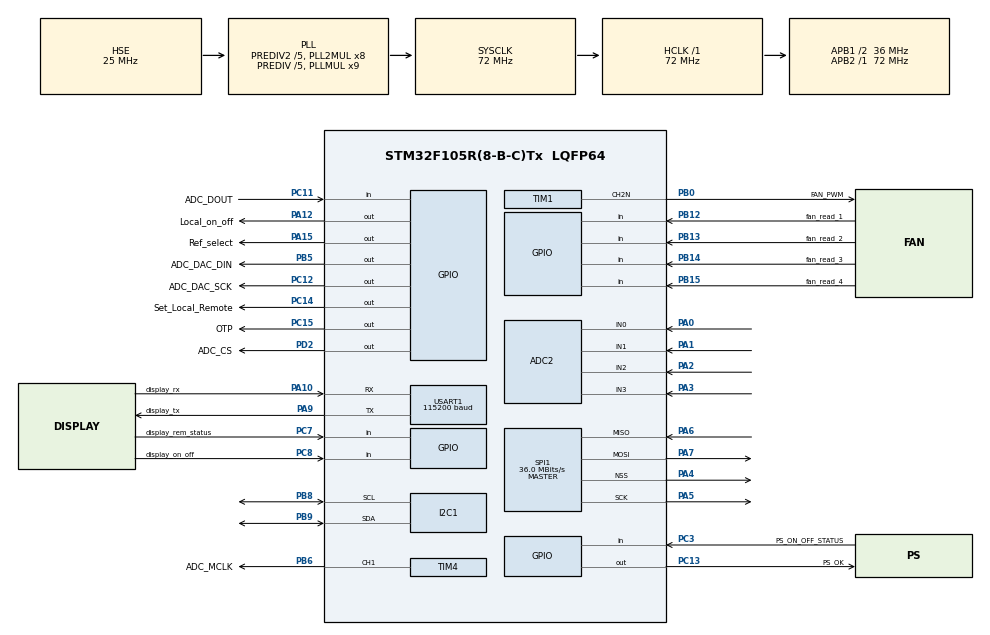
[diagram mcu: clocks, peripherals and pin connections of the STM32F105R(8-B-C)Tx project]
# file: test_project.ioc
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ADC2.Channel-0\#ChannelRegularConversion=ADC_CHANNEL_1
ADC2.NbrOfConversionFlag=1
ADC2.Rank-0\#ChannelRegularConversion=1
ADC2.SamplingTime-0\#ChannelRegularConversion=ADC_SAMPLETIME_1CYCLE_5
Mcu.Family=STM32F1
Mcu.Name=STM32F105R(8-B-C)Tx
Mcu.Package=LQFP64
NVIC.ADC1_2_IRQn=true\:0\:0\:false\:false\:true\:true\:true\:true
NVIC.I2C1_ER_IRQn=true\:0\:0\:false\:false\:true\:true\:true\:true
NVIC.I2C1_EV_IRQn=true\:0\:0\:false\:false\:true\:true\:true\:true
NVIC.PriorityGroup=NVIC_PRIORITYGROUP_4
NVIC.RCC_IRQn=true\:0\:0\:false\:false\:true\:true\:false\:true
NVIC.TIM1_BRK_IRQn=true\:0\:0\:false\:false\:true\:true\:true\:true
NVIC.TIM1_CC_IRQn=true\:0\:0\:false\:false\:true\:true\:true\:true
NVIC.TIM1_TRG_COM_IRQn=true\:0\:0\:false\:false\:true\:true\:true\:true
NVIC.TIM1_UP_IRQn=true\:0\:0\:false\:false\:true\:true\:true\:true
NVIC.TIM3_IRQn=true\:0\:0\:false\:false\:true\:true\:true\:true
NVIC.TIM4_IRQn=true\:0\:0\:false\:false\:true\:true\:true\:true
NVIC.USART1_IRQn=true\:0\:0\:false\:false\:true\:true\:true\:true
PA0-WKUP.Signal=ADCx_IN0
PA1.Signal=ADCx_IN1
PA10.GPIO_Label=display_rx
PA10.Mode=Asynchronous
PA10.Signal=USART1_RX
PA12.GPIO_Label=Local_on_off
PA12.Signal=GPIO_Output
PA13.Mode=Serial_Wire
PA13.Signal=SYS_JTMS-SWDIO
PA14.Mode=Serial_Wire
PA14.Signal=SYS_JTCK-SWCLK
PA15.GPIO_Label=Ref_select
PA15.Signal=GPIO_Output
PA2.Signal=ADCx_IN2
PA3.Signal=ADCx_IN3
PA4.Mode=NSS_Signal_Hard_Output
PA4.Signal=SPI1_NSS
PA5.Mode=Full_Duplex_Master
PA5.Signal=SPI1_SCK
PA6.Mode=Full_Duplex_Master
PA6.Signal=SPI1_MISO
PA7.Mode=Full_Duplex_Master
PA7.Signal=SPI1_MOSI
PA9.GPIO_Label=display_tx
PA9.Mode=Asynchronous
PA9.Signal=USART1_TX
PB0.GPIO_Label=FAN_PWM
PB0.Mode=PWM Generation2 CH2N
PB0.Signal=TIM1_CH2N
PB12.GPIO_Label=fan_read_1
PB12.Signal=GPIO_Input
PB13.GPIO_Label=fan_read_2
PB13.Signal=GPIO_Input
PB14.GPIO_Label=fan_read_3
PB14.Signal=GPIO_Input
PB15.GPIO_Label=fan_read_4
PB15.Signal=GPIO_Input
PB5.GPIO_Label=ADC_DAC_DIN
PB5.Signal=GPIO_Output
PB6.GPIO_Label=ADC_MCLK
PB6.Signal=S_TIM4_CH1
PB8.Mode=I2C
PB8.Signal=I2C1_SCL
PB9.Mode=I2C
PB9.Signal=I2C1_SDA
PC11.GPIO_Label=ADC_DOUT
PC11.Signal=GPIO_Input
PC12.GPIO_Label=ADC_DAC_SCK
PC12.Signal=GPIO_Output
PC13-TAMPER-RTC.GPIO_Label=PS_OK
PC13-TAMPER-RTC.Signal=GPIO_Output
PC14-OSC32_IN.GPIO_Label=Set_Local_Remote
PC14-OSC32_IN.Signal=GPIO_Output
PC15-OSC32_OUT.GPIO_Label=OTP
PC15-OSC32_OUT.Signal=GPIO_Output
PC3.GPIO_Label=PS_ON_OFF_STATUS
PC3.Signal=GPIO_Input
PC7.GPIO_Label=display_rem_status
PC7.Signal=GPIO_Input
PC8.GPIO_Label=display_on_off
PC8.Signal=GPIO_Input
PD0-OSC_IN.Mode=HSE-External-Oscillator
PD0-OSC_IN.Signal=RCC_OSC_IN
PD1-OSC_OUT.Mode=HSE-External-Oscillator
PD1-OSC_OUT.Signal=RCC_OSC_OUT
PD2.GPIO_Label=ADC_CS
PD2.PinState=GPIO_PIN_SET
PD2.Signal=GPIO_Output
ProjectManager.HeapSize=0x200
ProjectManager.StackSize=0x400
ProjectManager.TargetToolchain=STM32CubeIDE
RCC.ADCPresc=RCC_ADCPCLK2_DIV6
RCC.AHBFreq_Value=72000000
RCC.APB1CLKDivider=RCC_HCLK_DIV2
RCC.APB1Freq_Value=36000000
RCC.APB1TimFreq_Value=72000000
RCC.APB2Freq_Value=72000000
RCC.APB2TimFreq_Value=72000000
RCC.HCLKFreq_Value=72000000
RCC.HSEDivPLL=RCC_HSE_PREDIV_DIV5
RCC.HSE_VALUE=25000000
RCC.PLLMUL=RCC_PLL_MUL9
RCC.PLLSourceVirtual=RCC_PLLSOURCE_HSE
RCC.Prediv1Source=RCC_PREDIV1_SOURCE_PLL2
RCC.Prediv2=RCC_HSE_PREDIV2_DIV5
RCC.SYSCLKFreq_VALUE=72000000
RCC.SYSCLKSource=RCC_SYSCLKSOURCE_PLLCLK
RCC.USBFreq_Value=48000000
SH.ADCx_IN0.0=ADC2_IN0,IN0
SH.ADCx_IN1.0=ADC2_IN1,IN1
SH.ADCx_IN2.0=ADC2_IN2,IN2
SH.ADCx_IN3.0=ADC2_IN3,IN3
SH.S_TIM4_CH1.0=TIM4_CH1,PWM Generation1 CH1
SPI1.BaudRatePrescaler=SPI_BAUDRATEPRESCALER_2
SPI1.CalculateBaudRate=36.0 MBits/s
SPI1.Direction=SPI_DIRECTION_2LINES
SPI1.Mode=SPI_MODE_MASTER
SPI1.VirtualNSS=VM_NSSHARD
SPI1.VirtualType=VM_MASTER
TIM1.Channel-PWM\ Generation2\ CH2N=TIM_CHANNEL_2
TIM4.Channel-PWM\ Generation1\ CH1=TIM_CHANNEL_1
TIM4.Channel-PWM\ Generation4\ No\ Output=TIM_CHANNEL_4
TIM4.Period=5
TIM4.Prescaler=1
TIM4.Pulse-PWM\ Generation1\ CH1=1
TIM4.Pulse-PWM\ Generation4\ No\ Output=1
USART1.BaudRate=115200
USART1.VirtualMode=VM_ASYNC
VP_TIM3_VS_ClockSourceINT.Mode=Internal
VP_TIM4_VS_no_output4.Mode=PWM Generation4 No Output
board=custom

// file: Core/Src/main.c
/* USER CODE BEGIN Header */
/**
  ******************************************************************************
  * @file           : main.c
  * @brief          : Main program body
  ******************************************************************************
  * @attention
  *
  * Copyright (c) 2026 STMicroelectronics.
  * All rights reserved.
  *
  * This software is licensed under terms that can be found in the LICENSE file
  * in the root directory of this software component.
  * If no LICENSE file comes with this software, it is provided AS-IS.
  *
  ******************************************************************************
  */
/* USER CODE END Header */
#include "main.h"
#include "adc.h"
#include "i2c.h"
#include "spi.h"
#include "tim.h"
#include "usart.h"
#include "gpio.h"

/* USER CODE BEGIN PTD */
uint32_t MeasDataSendCount = 0;
/* USER CODE END PTD */

/* USER CODE BEGIN PD */

int Set_Local_Remote = 1;
int Ref_Sel = 1;

/* USER CODE END PD */

void SystemClock_Config(void);

int main(void)
{

  /* MCU Configuration--------------------------------------------------------*/

  /* Reset of all peripherals, Initializes the Flash interface and the Systick. */
  HAL_Init();

  /* Configure the system clock */
  SystemClock_Config();

  /* Initialize all configured peripherals */
  MX_GPIO_Init();
  MX_USART1_UART_Init();
  MX_SPI1_Init();
  MX_TIM3_Init();
  MX_ADC2_Init();
  MX_I2C1_Init();
  MX_TIM1_Init();
  MX_TIM4_Init();
  /* USER CODE BEGIN 2 */

  HAL_GPIO_WritePin(GPIOC, Set_Local_Remote_Pin, GPIO_PIN_SET);
  HAL_GPIO_WritePin(GPIOA, Local_on_off_Pin|Ref_select_Pin, GPIO_PIN_SET);

  HAL_TIM_PWM_Start(&htim4, TIM_CHANNEL_1);

  HAL_Delay(300);
  ADC_Init();

  /* USER CODE END 2 */

  /* Infinite loop */
  /* USER CODE BEGIN WHILE */
  while (1)
  {

	  if(1 == Set_Local_Remote)
	  {
		  HAL_GPIO_WritePin(GPIOC, Set_Local_Remote_Pin, GPIO_PIN_SET);
	  }
	  else
	  {
		  HAL_GPIO_WritePin(GPIOC, Set_Local_Remote_Pin, GPIO_PIN_RESET);
	  }

	  if(1 == Ref_Sel)
	  {
		  HAL_GPIO_WritePin(GPIOA, Ref_select_Pin, GPIO_PIN_SET);
	  }
	  else
	  {
		  HAL_GPIO_WritePin(GPIOA, Ref_select_Pin, GPIO_PIN_RESET);
	  }
	  scan_adc();

	  MeasDataSendCount++;
	  if(MeasDataSendCount == 3000)
	  {
		  display_update();
		  MeasDataSendCount = 0;
	  }
	  count1++;
	  count3++;
	    if(state<99)
	    {
	 	  if((usart1RxBuff[0]==0x5b) && (usart1RxBuff[1]==0x05) && (usart1RxBuff[2]==0xef) && mode == LOCAL)
	 	  {
	 		  usart1RxBuff[0]=0;
	 		  usart1RxBuff[1]=0;
	 		  usart1RxBuff[2]=0;

	 		  if(Output_Status==0)
	 		  {
	 			  Output_Status = 1;
	 		  }
	 		  else if(Output_Status==1)
	 		  {
	 			  Output_Status = 0;
	 		  }
	 	  }
	    }

	    //RM Key pressed
	    if((state < 99) && (usart1RxBuff[0] == 0x5B) && (usart1RxBuff[1] == 0x09) &&(usart1RxBuff[2] == 0xef))
	    {
	 	    usart1RxBuff[0] = 0U;
	 	    usart1RxBuff[1] = 0U;
	 	    usart1RxBuff[2] = 0U;

	 	    state = 101;

	    }

	 	  /* Bit 0 = ACF */
	 	  if (ACF_Status == 1U)
	 	  {
	 	      SystemStatus |= (1U << 0);
	 	  }
	 	  else
	 	  {
	 	      SystemStatus &= ~(1U << 0);
	 	  }

	 	  /* Bit 1 = OTP */
	 	  if (OTP_Status == 1U)
	 	  {
	 	      SystemStatus |= (1U << 1);
	 	  }
	 	  else
	 	  {
	 	      SystemStatus &= ~(1U << 1);
	 	  }

	 	  /* Bit 2 = FAN FAIL */
	 	  if (FanFail_Status == 1U)
	 	  {
	 	      SystemStatus |= (1U << 2);
	 	  }
	 	  else
	 	  {
	 	      SystemStatus &= ~(1U << 2);
	 	  }

	 	  /* Bit 3 = OVERLOAD */
	 	  if (Overload_Status == 1U)
	 	  {
	 	      SystemStatus |= (1U << 3);
	 	  }
	 	  else
	 	  {
	 	      SystemStatus &= ~(1U << 3);
	 	  }

	       if(SystemStatus>0)
	       {
	     	  state = 99;
	       }

	       if(count3 == 3000)
	       {
	     	  state = 101;
	       }
	 	  switch(state)
	 	  {

	 	  case(0):
	 				if(count1>2000)
	 			    {
	 					display_update();
	 					count1 = 0;
	 			    }
	 	  	  	  	  if(usart1RxBuff[0]==0x5b && usart1RxBuff[1]==0x01 && usart1RxBuff[2]==0xef)
	 				  {
	 					  state = 1;
	 					  usart1RxBuff[0]=0;
	 					  usart1RxBuff[1]=0;
	 					  usart1RxBuff[2]=0;
	 					  display_ISET();

	 				  }

	 	   break;

	 	  case(1):      // Set Button Pressed
	 	  				if(count2>50000000)
	 	  			    {
	 	  					//display_update();
	 	  					count2 = 0;
	 	  					state = 0;
	 	  			    }
	 	  	  	  	    count2++;

	 	  	  	  	 if(usart1RxBuff[0]==0x5b && usart1RxBuff[1]==0x01 && usart1RxBuff[2]==0xef)
	 				  {
	 					  //state = 1;
	 					  usart1RxBuff[0]=0;
	 					  usart1RxBuff[1]=0;
	 					  usart1RxBuff[2]=0;
	 					  display_ISET();
	 					  state = 0;

	 				  }

	 	  break;

	 	  case(99) : if(count1>2000)
	 					{
	 		  	  	  	  Fault_Display();
	 						count1 = 0;
	 					}

	 	  if(usart1RxBuff[0]==0x5b && usart1RxBuff[1]==0x05 && usart1RxBuff[2]==0xef)
	 	 	  {
	 	 		  usart1RxBuff[0]=0;
	 	 		  usart1RxBuff[1]=0;
	 	 		  usart1RxBuff[2]=0;

	 	 		  state=0;
	 	 	  }

	 		break;

	 	  case(101): // Handler for Remote button press
	 	  {

	 		    if ((usart1RxBuff[0] == 0x5B) && (usart1RxBuff[1] == 0x09) && (usart1RxBuff[2] == 0xEF))
	 		    {
	 		        usart1RxBuff[0] = 0U;
	 		        usart1RxBuff[1] = 0U;
	 		        usart1RxBuff[2] = 0U;

	 		        if (mode == REMOTE)
	 		        {
	 		            mode = LOCAL;

	 		            LedStatus = 0x02;
	 		        }
	 		        else
	 		        {
	 		            mode = REMOTE;

	 		            LedStatus = 0x00;
	 		        }

	 		        state = 0;
	 		    }
	 		    else if ((usart1RxBuff[0] == 0x5B) && (usart1RxBuff[1] == 0x05) && (usart1RxBuff[2] == 0xEF))
	 		    {
	 		        usart1RxBuff[0] = 0U;
	 		        usart1RxBuff[1] = 0U;
	 		        usart1RxBuff[2] = 0U;

	 		        if (mode == LOCAL)
	 		        {
	 		            if (Output_Status == 0U)
	 		            {
	 		                Output_Status = 1U;
	 		            }
	 		            else
	 		            {
	 		                Output_Status = 0U;
	 		            }
	 		        }
	 		        state = 0;
	 		    }

	 		    break;
	 	  }

	 	  }
    /* USER CODE END WHILE */

  }
}

void SystemClock_Config(void)
{
  RCC_OscInitTypeDef RCC_OscInitStruct = {0};
  RCC_ClkInitTypeDef RCC_ClkInitStruct = {0};
  RCC_PeriphCLKInitTypeDef PeriphClkInit = {0};

  /** Initializes the RCC Oscillators according to the specified parameters
  * in the RCC_OscInitTypeDef structure.
  */
  RCC_OscInitStruct.OscillatorType = RCC_OSCILLATORTYPE_HSE;
  RCC_OscInitStruct.HSEState = RCC_HSE_ON;
  RCC_OscInitStruct.HSEPredivValue = RCC_HSE_PREDIV_DIV5;
  RCC_OscInitStruct.HSIState = RCC_HSI_ON;
  RCC_OscInitStruct.Prediv1Source = RCC_PREDIV1_SOURCE_PLL2;
  RCC_OscInitStruct.PLL.PLLState = RCC_PLL_ON;
  RCC_OscInitStruct.PLL.PLLSource = RCC_PLLSOURCE_HSE;
  RCC_OscInitStruct.PLL.PLLMUL = RCC_PLL_MUL9;
  RCC_OscInitStruct.PLL2.PLL2State = RCC_PLL2_ON;
  RCC_OscInitStruct.PLL2.PLL2MUL = RCC_PLL2_MUL8;
  RCC_OscInitStruct.PLL2.HSEPrediv2Value = RCC_HSE_PREDIV2_DIV5;
  if (HAL_RCC_OscConfig(&RCC_OscInitStruct) != HAL_OK)
  {
    Error_Handler();
  }

  /** Initializes the CPU, AHB and APB buses clocks
  */
  RCC_ClkInitStruct.ClockType = RCC_CLOCKTYPE_HCLK|RCC_CLOCKTYPE_SYSCLK
                              |RCC_CLOCKTYPE_PCLK1|RCC_CLOCKTYPE_PCLK2;
  RCC_ClkInitStruct.SYSCLKSource = RCC_SYSCLKSOURCE_PLLCLK;
  RCC_ClkInitStruct.AHBCLKDivider = RCC_SYSCLK_DIV1;
  RCC_ClkInitStruct.APB1CLKDivider = RCC_HCLK_DIV2;
  RCC_ClkInitStruct.APB2CLKDivider = RCC_HCLK_DIV1;

  if (HAL_RCC_ClockConfig(&RCC_ClkInitStruct, FLASH_LATENCY_2) != HAL_OK)
  {
    Error_Handler();
  }
  PeriphClkInit.PeriphClockSelection = RCC_PERIPHCLK_ADC;
  PeriphClkInit.AdcClockSelection = RCC_ADCPCLK2_DIV6;
  if (HAL_RCCEx_PeriphCLKConfig(&PeriphClkInit) != HAL_OK)
  {
    Error_Handler();
  }

  /** Configure the Systick interrupt time
  */
  __HAL_RCC_PLLI2S_ENABLE();
}

void Error_Handler(void)
{
  __disable_irq();
  while (1)
  {
  }
}
